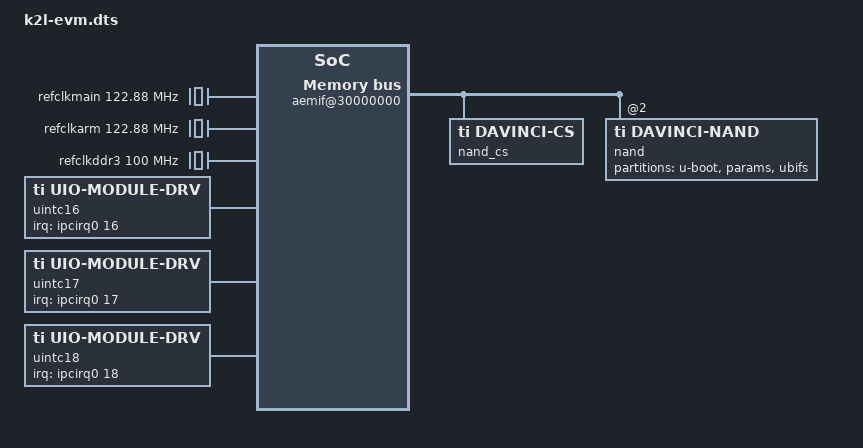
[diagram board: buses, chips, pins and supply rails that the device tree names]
/*
 * Copyright 2014 Texas Instruments, Inc.
 *
 * Keystone 2 Lamarr EVM device tree file
 *
 * This program is free software; you can redistribute it and/or modify
 * it under the terms of the GNU General Public License version 2 as
 * published by the Free Software Foundation.
 */
/dts-v1/;

/include/ "keystone.dtsi"
/include/ "k2l.dtsi"

/ {
	compatible = "ti,k2l-evm", "ti,keystone";

    /*****************************************************************************
    * SYSLIB qos tree changes:
    *  - The sections below have been added to support one simple l3 
	*    and two simple l2 shapers on interface eth0 and eth1
    *****************************************************************************/

	l3qostree: l3-qos-tree {
		output-queue = <910>;		/* L3 QOS outputs to PDSP5 for L2 QOS */
	};

	l2qostree0: l2-qos-tree-eth0 {
		output-queue = <896>;		/* L2 QOS on eth0 outputs to CPSW */
	};

	l2qostree1: l2-qos-tree-eth1 {
		output-queue = <896>;		/* L2 QOS on eth1 outputs to CPSW */
	};

	/include/ "keystone-qostree.dtsi"

	soc {
		clocks {
			refclkmain: refclkmain {
				#clock-cells = <0>;
				compatible = "fixed-clock";
				clock-frequency = <122880000>;
				clock-output-names = "refclk-main";
			};

			refclkarm: refclkarm {
				#clock-cells = <0>;
				compatible = "fixed-clock";
				clock-frequency = <122880000>;
				clock-output-names = "refclk-arm";
			};

			refclkddr3: refclkddr3 {
				#clock-cells = <0>;
				compatible = "fixed-clock";
				clock-frequency = <100000000>;
				clock-output-names = "refclk-ddr3";
			};
		};

		aemif@30000000 {
			nand_cs:cs2@30000000 {
				compatible = "ti,davinci-cs";
				#address-cells = <1>;
				#size-cells = <1>;
				/* all timings in nanoseconds */
				ti,davinci-cs-ta = <12>;
				ti,davinci-cs-rhold = <6>;
				ti,davinci-cs-rstrobe = <23>;
				ti,davinci-cs-rsetup = <9>;
				ti,davinci-cs-whold = <8>;
				ti,davinci-cs-wstrobe = <23>;
				ti,davinci-cs-wsetup = <8>;
			};

			nand@2,0 {
				compatible = "ti,davinci-nand";
				reg = <2 0x0 0x8000000
					6 0x0 0x100>;
				#address-cells = <1>;
				#size-cells = <1>;
				ti,davinci-chipselect = <0>;
				ti,davinci-mask-ale = <0x2000>;
				ti,davinci-mask-cle = <0x4000>;
				ti,davinci-mask-chipsel = <0>;
				ti,davinci-ecc-mode = "hw";
				ti,davinci-ecc-bits = <4>;
				ti,davinci-nand-use-bbt;
				ti,davinci-no-subpage-write;
				clocks = <&clkaemif>;
				clock-names = "aemif";

				partition@0 {
					label = "u-boot";
					reg = <0x0 0x100000>;
					read-only;
				};

				partition@100000 {
					label = "params";
					reg = <0x100000 0x80000>;
					read-only;
				};

				partition@180000 {
					label = "ubifs";
					reg = <0x180000 0x7fe80000>;
				};
			};
		};

		hwqueue0: hwqueue@2a40000 {
			queues {
				qos-inputs-1 {
					values			= <8000 192>;
					pdsp-id			= <3>;
					ticks-per-sec		= <10000>;
					qos-cfg			= <4 50 1 1 0xf00 0 0>;
					sched-port-configs	= <0 20 0x1c8>;
					drop-out-profiles	= <0 36 0xc>;
					drop-cfg-profiles	= <0 8 0x14>;
					drop-queue-configs	= <0 80 0x4>;
					drop-policies           = <&droppolicies>;
					qos-tree                = <&l3qostree>;
					statistics-profiles	= <0 48>;
					reserved;
				};
				qos-inputs-2 {
					values			= <6400 192>;
					pdsp-id			= <7>;
					ticks-per-sec		= <10000>;
					qos-cfg			= <4 50 1 1 0xf00 0 0>;
					sched-port-configs	= <0 20 0x1c8>;
					drop-out-profiles	= <0 36 0xc>;
					drop-cfg-profiles	= <0 8 0x14>;
					drop-queue-configs	= <0 80 0x4>;
					drop-policies           = <&droppolicies>;
					qos-tree                = <&l2qostree0 &l2qostree1>;
					statistics-profiles	= <0 48>;
					reserved;
				};
			};
		};

		uio_srss: srss {
			compatible = "ti,uio-module-drv";
			mem  = <0x02330000 0x0000400>;
			clocks=<&clksr>;
			interrupts = <0 0x173 0xf01>;
			label = "srss";
		};

        /*****************************************************************************
         * SYSLIB interrupt definitions:
         *  - The sections below have been added to hook the required interrupts with
         *    the UIO driver.
         *****************************************************************************/
        /******************************************************************************
         * Queue Pend Interrupts: This section should be correlated with the Queue Pend
         * usage by the kernel. Hook only queues which are not used by the kernel with
         * the UIO driver.
         ******************************************************************************/
        uio_uintc40: uintc40 {
            compatible      = "ti,uio-module-drv";
            interrupts      = <0 40 0x101>;
            interrupt-mode  = <1>;               /* One shot interrupt */
            label = "uintc40";
        };
        uio_uintc41: uintc41 {
            compatible      = "ti,uio-module-drv";
            interrupts      = <0 41 0x101>;
            interrupt-mode  = <1>;               /* One shot interrupt */
            label = "uintc41";
        };
        uio_uintc42: uintc42 {
            compatible      = "ti,uio-module-drv";
            interrupts      = <0 42 0x101>;
            interrupt-mode  = <1>;               /* One shot interrupt */
            label = "uintc42";
        };
        uio_uintc43: uintc43 {
            compatible      = "ti,uio-module-drv";
            interrupts      = <0 43 0x101>;
            interrupt-mode  = <1>;               /* One shot interrupt */
            label = "uintc43";
        };
        uio_uintc44: uintc44 {
            compatible      = "ti,uio-module-drv";
            interrupts      = <0 44 0x101>;
            interrupt-mode  = <1>;               /* One shot interrupt */
            label = "uintc44";
        };
        uio_uintc45: uintc45 {
            compatible      = "ti,uio-module-drv";
            interrupts      = <0 45 0x101>;
            interrupt-mode  = <1>;               /* One shot interrupt */
            label = "uintc40";
        };
        uio_uintc46: uintc46 {
            compatible      = "ti,uio-module-drv";
            interrupts      = <0 46 0x101>;
            interrupt-mode  = <1>;               /* One shot interrupt */
            label = "uintc46";
        };
        uio_uintc47: uintc47 {
            compatible      = "ti,uio-module-drv";
            interrupts      = <0 47 0x101>;
            interrupt-mode  = <1>;               /* One shot interrupt */
            label = "uintc47";
        };
        uio_uintc66: uintc66 {
            compatible      = "ti,uio-module-drv";
            interrupts      = <0 66 0x101>;
            interrupt-mode  = <1>;               /* One shot interrupt */
            label = "uintc66";
        };
        uio_uintc67: uintc67 {
            compatible      = "ti,uio-module-drv";
            interrupts      = <0 67 0x101>;
            interrupt-mode  = <1>;               /* One shot interrupt */
            label = "uintc67";
        };
        uio_uintc68: uintc68 {
            compatible      = "ti,uio-module-drv";
            interrupts      = <0 68 0x101>;
            interrupt-mode  = <1>;               /* One shot interrupt */
            label = "uintc68";
        };
        uio_uintc69: uintc69 {
            compatible      = "ti,uio-module-drv";
            interrupts      = <0 69 0x101>;
            interrupt-mode  = <1>;               /* One shot interrupt */
            label = "uintc69";
        };
        uio_uintc70: uintc70 {
            compatible      = "ti,uio-module-drv";
            interrupts      = <0 70 0x101>;
            interrupt-mode  = <1>;               /* One shot interrupt */
            label = "uintc70";
        };
        uio_uintc71: uintc71 {
            compatible      = "ti,uio-module-drv";
            interrupts      = <0 71 0x101>;
            interrupt-mode  = <1>;               /* One shot interrupt */
            label = "uintc71";
        };
        uio_uintc72: uintc72 {
            compatible      = "ti,uio-module-drv";
            interrupts      = <0 72 0x101>;
            interrupt-mode  = <1>;               /* One shot interrupt */
            label = "uintc72";
        };
        uio_uintc73: uintc73 {
            compatible      = "ti,uio-module-drv";
            interrupts      = <0 73 0x101>;
            interrupt-mode  = <1>;               /* One shot interrupt */
            label = "uintc73";
        };
        uio_uintc74: uintc74 {
            compatible      = "ti,uio-module-drv";
            interrupts      = <0 74 0x101>;
            interrupt-mode  = <1>;               /* One shot interrupt */
            label = "uintc74";
        };
        uio_uintc75: uintc75 {
            compatible      = "ti,uio-module-drv";
            interrupts      = <0 75 0x101>;
            interrupt-mode  = <1>;               /* One shot interrupt */
            label = "uintc75";
        };
        uio_uintc76: uintc76 {
            compatible      = "ti,uio-module-drv";
            interrupts      = <0 76 0x101>;
            interrupt-mode  = <1>;               /* One shot interrupt */
            label = "uintc76";
        };
        uio_uintc77: uintc77 {
            compatible      = "ti,uio-module-drv";
            interrupts      = <0 77 0x101>;
            interrupt-mode  = <1>;               /* One shot interrupt */
            label = "uintc77";
        };
        uio_uintc78: uintc78 {
            compatible      = "ti,uio-module-drv";
            interrupts      = <0 78 0x101>;
            interrupt-mode  = <1>;               /* One shot interrupt */
            label = "uintc78";
        };
        uio_uintc79: uintc79 {
            compatible      = "ti,uio-module-drv";
            interrupts      = <0 79 0x101>;
            interrupt-mode  = <1>;               /* One shot interrupt */
            label = "uintc79";
        };

        /******************************************************************************
         * Accumulated Interrupts:
         ******************************************************************************/
        uio_uintc207: uintc207 {
            compatible      = "ti,uio-module-drv";
            interrupts      = <0 207 0x101>;
            label = "uintc207";
        };
        uio_uintc208: uintc208 {
            compatible      = "ti,uio-module-drv";
            interrupts      = <0 208 0x101>;
            label = "uintc208";
        };
        uio_uintc209: uintc209 {
            compatible      = "ti,uio-module-drv";
            interrupts      = <0 209 0x101>;
            label = "uintc209";
        };
        uio_uintc210: uintc210 {
            compatible      = "ti,uio-module-drv";
            interrupts      = <0 210 0x101>;
            label = "uintc210";
        };
        uio_uintc257: uintc257 {
            compatible      = "ti,uio-module-drv";
            interrupts      = <0 257 0x101>;
            label = "uintc257";
        };
        uio_uintc258: uintc258 {
            compatible      = "ti,uio-module-drv";
            interrupts      = <0 258 0x101>;
            label = "uintc258";
        };
        uio_uintc259: uintc259 {
            compatible      = "ti,uio-module-drv";
            interrupts      = <0 259 0x101>;
            label = "uintc259";
        };
        uio_uintc260: uintc260 {
            compatible      = "ti,uio-module-drv";
            interrupts      = <0 260 0x101>;
            label = "uintc260";
        };



        /******************************************************************************
         * IPC Interrupts:
         *  The interrupt number is the source identifier.
         ******************************************************************************/
        uio_uintc16: uintc16 {
            compatible        = "ti,uio-module-drv";
            interrupt-parent  = <&ipcirq0>;
            interrupts        = <16 0>;      /* Source Identifier 16 */
            label = "uintc16";
        };
        uio_uintc17: uintc17 {
            compatible        = "ti,uio-module-drv";
            interrupt-parent  = <&ipcirq0>;
            interrupts        = <17 0>;      /* Source Identifier 17 */
            label = "uintc17";
        };
        uio_uintc18: uintc18 {
            compatible        = "ti,uio-module-drv";
            interrupt-parent  = <&ipcirq0>;
            interrupts        = <18 0>;      /* Source Identifier 18 */
            label = "uintc18";
        };

        /*****************************************************************************
         * SYSLIB EMU Counter memory map through UIO definition
         *  - The sections below have been added to map the EMU Counter regsiter
         * through UIO
         *****************************************************************************/
         uio_emucnt: emucnt {
             compatible = "ti,uio-module-drv";
             mem  = <0x023101f0 0x00000010>;
             freq = <0x0 0x3B9ACA00>;
             label = "emucnt";
         };

	};
};

